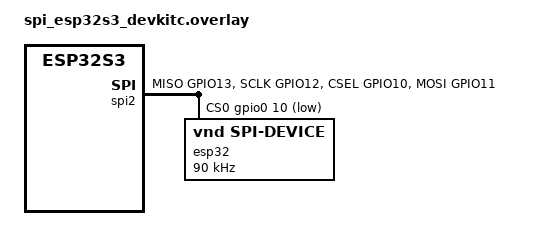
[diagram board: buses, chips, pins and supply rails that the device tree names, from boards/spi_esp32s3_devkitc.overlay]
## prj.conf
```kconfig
# Copyright (c) 2021 Nordic Semiconductor ASA
# SPDX-License-Identifier: Apache-2.0
#
# This file contains selected Kconfig options for the application.

CONFIG_ESP32_SPIM=y
CONFIG_SPI=y

# CONFIG_LOG=y
# CONFIG_LOG_DEFAULT_LEVEL=4
# CONFIG_LOG_BACKEND_UART=y
```

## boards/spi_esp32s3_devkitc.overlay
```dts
// spi controller
&spi2 {
    // This right here expects CONFIG_ESP32_SPIM=y
	compatible = "espressif,esp32-spi";

    // already defined in zephyr/boards/espressif/esp32s3_devkitc/esp32s3_devkitc_procpu.dts
	// redundant but here for clarity
	status = "okay";
    pinctrl-0 = <&spim2_default>;
    pinctrl-names = "default";

	// custom settings; I have defined this myself.
    cs-gpios = <&gpio0 10 GPIO_ACTIVE_LOW>;

    cs-setup-time = <90000>;
    cs-hold-time = <90000>;

    // creating the spi device on the spi controller! 
    // note; in cs_gpios, I defined an array of 1. This is the cs_gpio of index 0.
    esp32: esp32@0 {
        // this right here expects CONFIG_SPI=y
        compatible = "vnd,spi-device";

        // the cs gpio at index 0 in cs-gpios
        reg = <0>;
        spi-max-frequency = <90000>;

        // we will use this to get with DT_NODELABEL.
        label = "esp32";
    };
};

// already defined in zephyr/boards/espressif/esp32s3_devkitc/esp32s3_devkitc-pinctrl.dtsi
// redundant but here for clarity
&pinctrl {
	spim2_default: spim2_default {
		group1 {
			pinmux = 
                <SPIM2_MISO_GPIO13>,
				 <SPIM2_SCLK_GPIO12>,
				 <SPIM2_CSEL_GPIO10>;
		};

        // MOSI will be 0 on start.
        // defined in a different group because it has different settings than group 1 pins.
		group2 {
			pinmux = <SPIM2_MOSI_GPIO11>;
			output-low;
		};
	};
};
```

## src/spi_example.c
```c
#include <zephyr/drivers/spi.h>
#include <zephyr/devicetree.h>

// our own specifiers
#define LEN_TRANSCEIVE 12
#define SPI_DEVICE_NAME esp32

// operation flags we want
static const spi_operation_t operation_flags = (

    SPI_OP_MODE_MASTER |
    SPI_TRANSFER_MSB |
    SPI_WORD_SET(8));

static const struct spi_dt_spec spi_device = SPI_DT_SPEC_GET(
    DT_NODELABEL(SPI_DEVICE_NAME),
    operation_flags);

int main()
{
    /*
    - I want to read four bytes so I need a four-byte array.
    - That array needs to be a member of a spi_buf
    - spi_buf needs to be a member of a spi_buf_set
    */
    // read
    uint8_t read_buf[LEN_TRANSCEIVE] = {0};
    struct spi_buf spi_read_buf = {&read_buf, LEN_TRANSCEIVE};
    const struct spi_buf_set rx_buf = {&spi_read_buf, 1};

    // write
    uint8_t write_buf[LEN_TRANSCEIVE] = {0};
    struct spi_buf spi_write_buf = {&write_buf, LEN_TRANSCEIVE};
    const struct spi_buf_set tx_buf = {&spi_write_buf, 1};

    // populate the write buffer
    for (int i = 0; i < LEN_TRANSCEIVE; i++)
        write_buf[i] = i;

    // transceive
    int transceive_res = spi_transceive_dt(
        &spi_device,
        &tx_buf,
        &rx_buf);

    // transceive result should be 0 (if master, which we are) upon end.
    if (transceive_res)
    {
        printk("Error on transcceiving\n");
        return 1;
    }

    // print out what has been read
    for (int i = 0; i < LEN_TRANSCEIVE; i++)
        printk("received word %d: %d\n", i, read_buf[i]);

    return 0;
}
```
